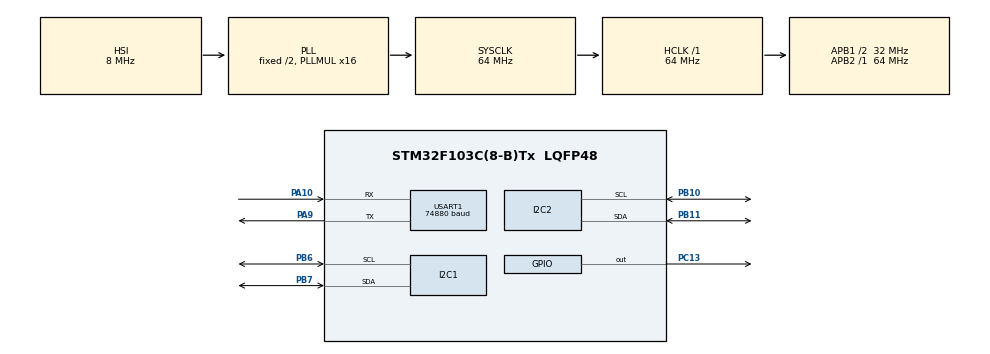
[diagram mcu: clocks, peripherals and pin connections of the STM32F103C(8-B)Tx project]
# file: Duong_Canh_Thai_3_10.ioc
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Mcu.Family=STM32F1
Mcu.Name=STM32F103C(8-B)Tx
Mcu.Package=LQFP48
NVIC.PriorityGroup=NVIC_PRIORITYGROUP_4
PA10.Mode=Asynchronous
PA10.Signal=USART1_RX
PA13.Mode=Serial_Wire
PA13.Signal=SYS_JTMS-SWDIO
PA14.Mode=Serial_Wire
PA14.Signal=SYS_JTCK-SWCLK
PA9.Mode=Asynchronous
PA9.Signal=USART1_TX
PB10.Mode=I2C
PB10.Signal=I2C2_SCL
PB11.Mode=I2C
PB11.Signal=I2C2_SDA
PB6.Mode=I2C
PB6.Signal=I2C1_SCL
PB7.Mode=I2C
PB7.Signal=I2C1_SDA
PC13-TAMPER-RTC.Signal=GPIO_Output
PD0-OSC_IN.Mode=HSE-External-Oscillator
PD0-OSC_IN.Signal=RCC_OSC_IN
PD1-OSC_OUT.Mode=HSE-External-Oscillator
PD1-OSC_OUT.Signal=RCC_OSC_OUT
ProjectManager.HeapSize=0x200
ProjectManager.StackSize=0x400
ProjectManager.TargetToolchain=MDK-ARM V5.32
RCC.AHBFreq_Value=64000000
RCC.APB1CLKDivider=RCC_HCLK_DIV2
RCC.APB1Freq_Value=32000000
RCC.APB1TimFreq_Value=64000000
RCC.APB2Freq_Value=64000000
RCC.APB2TimFreq_Value=64000000
RCC.HCLKFreq_Value=64000000
RCC.HSEDivPLL=RCC_HSE_PREDIV_DIV2
RCC.PLLMUL=RCC_PLL_MUL16
RCC.SYSCLKFreq_VALUE=64000000
RCC.SYSCLKSource=RCC_SYSCLKSOURCE_PLLCLK
RCC.USBFreq_Value=64000000
USART1.BaudRate=74880
USART1.VirtualMode=VM_ASYNC
board=custom

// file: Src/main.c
/* USER CODE BEGIN Header */
/**
  ******************************************************************************
  * @file           : main.c
  * @brief          : VL53L0X -> OLED -> UART1 (PA9, 74880 baud) to ESP8266
  ******************************************************************************
  */
/* USER CODE END Header */

#include "main.h"
#include "ssd1306.h"
#include "ssd1306_fonts.h"
#include <stdio.h>
#include <string.h>

I2C_HandleTypeDef hi2c1;
I2C_HandleTypeDef hi2c2;
UART_HandleTypeDef huart1;

/* USER CODE BEGIN PV */
uint16_t current_distance = 0;
#define VL53L0X_ADDR 0x52
/* USER CODE END PV */

void SystemClock_Config(void);
static void MX_GPIO_Init(void);
static void MX_I2C1_Init(void);
static void MX_I2C2_Init(void);
static void MX_USART1_UART_Init(void);

/* USER CODE BEGIN 0 */
uint16_t VL53L0X_ReadDistance(void) {
    uint8_t cmd_start = 0x01;
    uint8_t dist_buffer[2];
    HAL_I2C_Mem_Write(&hi2c2, VL53L0X_ADDR, 0x00, 1, &cmd_start, 1, 100);
    HAL_Delay(30);
    if (HAL_I2C_Mem_Read(&hi2c2, VL53L0X_ADDR, 0x1E, 1, dist_buffer, 2, 100) == HAL_OK) {
        return (dist_buffer[0] << 8) | dist_buffer[1];
    }
    return 8190; // Giá trị out of range / lỗi đọc
}

void OLED_Draw_Frame(void) {
    ssd1306_Fill(Black);
    ssd1306_DrawRectangle(0, 0, 127, 63, White);
    ssd1306_SetCursor(14, 6);
    ssd1306_WriteString("LASER METER", Font_11x18, White);
    ssd1306_Line(4, 24, 123, 24, White);
    ssd1306_UpdateScreen();
}
/* USER CODE END 0 */

int main(void)
{
  HAL_Init();
  SystemClock_Config();

  MX_GPIO_Init();
  MX_I2C1_Init();
  MX_I2C2_Init();
  MX_USART1_UART_Init();

  /* USER CODE BEGIN 2 */
  ssd1306_Init();
  HAL_Delay(100);
  OLED_Draw_Frame();
  /* USER CODE END 2 */

  char str_buf[20];
  char uart_buf[16];

  while (1)
  {
    // 1. Đọc cảm biến
    current_distance = VL53L0X_ReadDistance();

    // 2. Truyền tất cả giá trị (kể cả out of range 8190) sang ESP8266
    int len = snprintf(uart_buf, sizeof(uart_buf), "%u\n", current_distance);
    HAL_UART_Transmit(&huart1, (uint8_t*)uart_buf, len, 100);

    // 3. Hiển thị lên màn hình OLED
    for (uint8_t y = 26; y < 62; y++) {
        for (uint8_t x = 4; x < 124; x++) {
            ssd1306_DrawPixel(x, y, Black);
        }
    }

    if (current_distance >= 8190) {
        ssd1306_SetCursor(18, 34);
        ssd1306_WriteString("Out Range", Font_11x18, White);
    } else {
        snprintf(str_buf, sizeof(str_buf), "%u mm", current_distance);
        uint8_t cursor_x = (current_distance < 100) ? 30 : ((current_distance < 1000) ? 25 : 20);
        ssd1306_SetCursor(cursor_x, 34);
        ssd1306_WriteString(str_buf, Font_11x18, White);
    }
    ssd1306_UpdateScreen();

    HAL_GPIO_TogglePin(GPIOC, GPIO_PIN_13);
    HAL_Delay(200); // 200ms gửi 1 gói tin
  }
}

// Cấu hình UART1 cố định ở 74880 baud
static void MX_USART1_UART_Init(void) {
  huart1.Instance = USART1;
  huart1.Init.BaudRate = 74880;
  huart1.Init.WordLength = UART_WORDLENGTH_8B;
  huart1.Init.StopBits = UART_STOPBITS_1;
  huart1.Init.Parity = UART_PARITY_NONE;
  huart1.Init.Mode = UART_MODE_TX_RX;
  huart1.Init.HwFlowCtl = UART_HWCONTROL_NONE;
  huart1.Init.OverSampling = UART_OVERSAMPLING_16;
  if (HAL_UART_Init(&huart1) != HAL_OK) { Error_Handler(); }
}

void SystemClock_Config(void) {
  RCC_OscInitTypeDef RCC_OscInitStruct = {0};
  RCC_ClkInitTypeDef RCC_ClkInitStruct = {0};
  RCC_OscInitStruct.OscillatorType = RCC_OSCILLATORTYPE_HSI;
  RCC_OscInitStruct.HSIState = RCC_HSI_ON;
  RCC_OscInitStruct.HSICalibrationValue = RCC_HSICALIBRATION_DEFAULT;
  RCC_OscInitStruct.PLL.PLLState = RCC_PLL_ON;
  RCC_OscInitStruct.PLL.PLLSource = RCC_PLLSOURCE_HSI_DIV2;
  RCC_OscInitStruct.PLL.PLLMUL = RCC_PLL_MUL16;
  if (HAL_RCC_OscConfig(&RCC_OscInitStruct) != HAL_OK) { Error_Handler(); }
  RCC_ClkInitStruct.ClockType = RCC_CLOCKTYPE_HCLK|RCC_CLOCKTYPE_SYSCLK|RCC_CLOCKTYPE_PCLK1|RCC_CLOCKTYPE_PCLK2;
  RCC_ClkInitStruct.SYSCLKSource = RCC_SYSCLKSOURCE_PLLCLK;
  RCC_ClkInitStruct.AHBCLKDivider = RCC_SYSCLK_DIV1;
  RCC_ClkInitStruct.APB1CLKDivider = RCC_HCLK_DIV2;
  RCC_ClkInitStruct.APB2CLKDivider = RCC_HCLK_DIV1;
  if (HAL_RCC_ClockConfig(&RCC_ClkInitStruct, FLASH_LATENCY_2) != HAL_OK) { Error_Handler(); }
}

static void MX_I2C1_Init(void) {
  hi2c1.Instance = I2C1; hi2c1.Init.ClockSpeed = 100000; hi2c1.Init.DutyCycle = I2C_DUTYCYCLE_2; hi2c1.Init.OwnAddress1 = 0; hi2c1.Init.AddressingMode = I2C_ADDRESSINGMODE_7BIT; hi2c1.Init.DualAddressMode = I2C_DUALADDRESS_DISABLE; hi2c1.Init.OwnAddress2 = 0; hi2c1.Init.GeneralCallMode = I2C_GENERALCALL_DISABLE; hi2c1.Init.NoStretchMode = I2C_NOSTRETCH_DISABLE;
  if (HAL_I2C_Init(&hi2c1) != HAL_OK) { Error_Handler(); }
}

static void MX_I2C2_Init(void) {
  hi2c2.Instance = I2C2; hi2c2.Init.ClockSpeed = 100000; hi2c2.Init.DutyCycle = I2C_DUTYCYCLE_2; hi2c2.Init.OwnAddress1 = 0; hi2c2.Init.AddressingMode = I2C_ADDRESSINGMODE_7BIT; hi2c2.Init.DualAddressMode = I2C_DUALADDRESS_DISABLE; hi2c2.Init.OwnAddress2 = 0; hi2c2.Init.GeneralCallMode = I2C_GENERALCALL_DISABLE; hi2c2.Init.NoStretchMode = I2C_NOSTRETCH_DISABLE;
  if (HAL_I2C_Init(&hi2c2) != HAL_OK) { Error_Handler(); }
}

static void MX_GPIO_Init(void) {
  GPIO_InitTypeDef GPIO_InitStruct = {0};
  __HAL_RCC_GPIOC_CLK_ENABLE();
  __HAL_RCC_GPIOD_CLK_ENABLE();
  __HAL_RCC_GPIOA_CLK_ENABLE();
  __HAL_RCC_GPIOB_CLK_ENABLE();
  HAL_GPIO_WritePin(GPIOC, GPIO_PIN_13, GPIO_PIN_RESET);
  GPIO_InitStruct.Pin = GPIO_PIN_13;
  GPIO_InitStruct.Mode = GPIO_MODE_OUTPUT_PP;
  GPIO_InitStruct.Pull = GPIO_NOPULL;
  GPIO_InitStruct.Speed = GPIO_SPEED_FREQ_LOW;
  HAL_GPIO_Init(GPIOC, &GPIO_InitStruct);
}

void Error_Handler(void) {
  __disable_irq();
  while (1) { }
}
